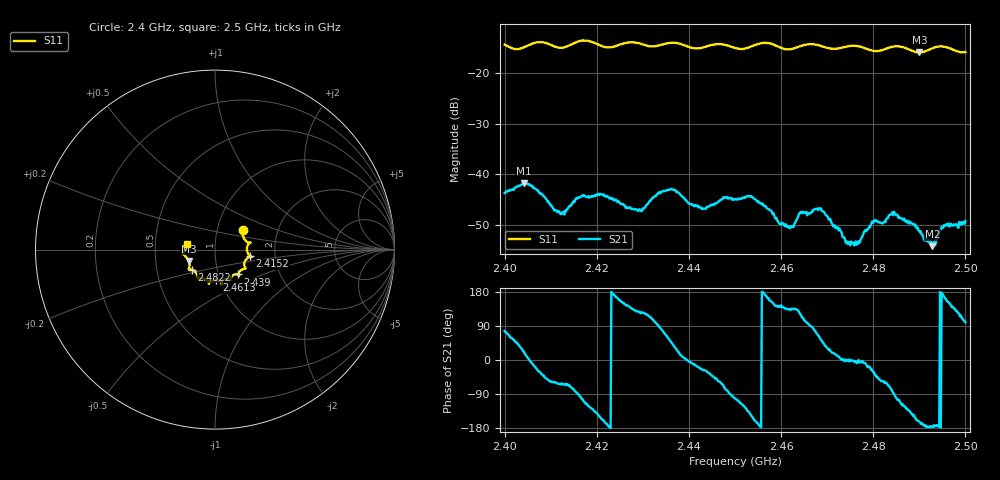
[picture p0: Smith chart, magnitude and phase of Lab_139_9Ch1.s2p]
# Hz S RI R 50
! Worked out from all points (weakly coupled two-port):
!   601 points, 2.4 GHz to 2.5 GHz, reference 50 ohm
!   highest |S21| = -41.69 dB at 2.4042 GHz (marker M1); lowest = -54.2 dB at 2.4928 GHz (marker M2)
!   lowest |S11| = -15.9 dB at 2.49 GHz (marker M3), VSWR 1.38, Z = 36.9 - j4.83 ohm
!   |S11| at or under -10 dB: start of sweep to end of sweep
!   S12 and S22 are empty: the file has one direction only
!   S11 on the Smith chart (normalised r, x): 2.4 GHz: 1.33, +0.31; 2.4152 GHz: 1.48, -0.11; 2.439 GHz: 1.24, -0.36; 2.4613 GHz: 0.96, -0.34; 2.4822 GHz: 0.76, -0.17; 2.5 GHz: 0.73, +0.05
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2.4e9  0.1549 0.1116  0.00153 0.00636  0 0  0 0
2.404167e9  0.1735 0.0469  0.00761 0.00314  0 0  0 0
2.411833e9  0.1776 0.00868  0.00197 -0.00385  0 0  0 0
2.415167e9  0.1953 -0.0364  0.000849 -0.00527  0 0  0 0
2.416667e9  0.2047 -0.0423  -0.00122 -0.0059  0 0  0 0
2.429333e9  0.1646 -0.1062  -0.00257 0.00367  0 0  0 0
2.433333e9  0.132 -0.1324  -0.000201 0.00657  0 0  0 0
2.4365e9  0.1348 -0.1473  0.00534 0.00461  0 0  0 0
2.439e9  0.1275 -0.1385  0.00583 0.00046  0 0  0 0
2.443167e9  0.0896 -0.1557  0.00408 -0.00209  0 0  0 0
2.45e9  0.0689 -0.1634  -0.00111 -0.00561  0 0  0 0
2.4535e9  0.0364 -0.1793  -0.00505 -0.00341  0 0  0 0
2.461333e9  0.00765 -0.1711  -0.0021 0.00217  0 0  0 0
2.466667e9  -0.0338 -0.1903  0.0002 0.00419  0 0  0 0
2.469e9  -0.0364 -0.1795  0.00291 0.00321  0 0  0 0
2.4745e9  -0.0896 -0.1608  0.00206 -2.69e-05  0 0  0 0
2.482167e9  -0.1283 -0.1117  0.0019 -0.00274  0 0  0 0
2.483333e9  -0.1396 -0.1101  0.00148 -0.00357  0 0  0 0
2.49e9  -0.1467 -0.0637  -0.00265 -0.000833  0 0  0 0
2.492833e9  -0.1735 -0.029  -0.00195 -0.000103  0 0  0 0
2.495333e9  -0.1813 -0.0203  -0.0031 0.000624  0 0  0 0
2.5e9  -0.1582 0.0339  -0.000563 0.00339  0 0  0 0
